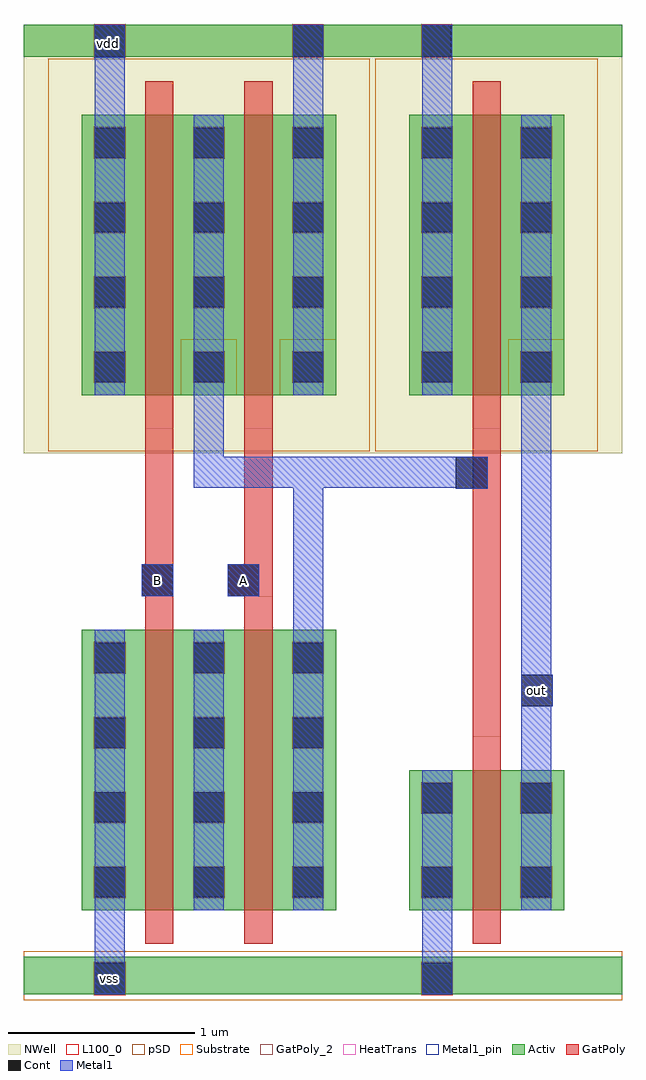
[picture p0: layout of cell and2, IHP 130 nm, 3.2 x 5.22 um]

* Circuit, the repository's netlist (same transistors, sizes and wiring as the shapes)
* Extracted by KLayout with SG13G2 LVS runset on : 26/03/2026 19:46

.SUBCKT and2
M$1 \$2 \$3 \$8 \$2 sg13_lv_nmos L=0.15u W=1.5u AS=0.51p AD=0.285p PS=3.68u
+ PD=1.88u
M$2 \$8 \$4 \$6 \$2 sg13_lv_nmos L=0.15u W=1.5u AS=0.285p AD=0.51p PS=1.88u
+ PD=3.68u
M$3 \$1 \$6 \$5 \$1 sg13_lv_pmos L=0.15u W=1.5u AS=0.51p AD=0.51p PS=3.68u
+ PD=3.68u
M$4 \$1 \$3 \$6 \$1 sg13_lv_pmos L=0.15u W=1.5u AS=0.51p AD=0.285p PS=3.68u
+ PD=1.88u
M$5 \$6 \$4 \$1 \$1 sg13_lv_pmos L=0.15u W=1.5u AS=0.285p AD=0.51p PS=1.88u
+ PD=3.68u
M$6 \$2 \$6 \$5 \$2 sg13_lv_nmos L=0.15u W=0.75u AS=0.255p AD=0.255p PS=2.18u
+ PD=2.18u
.ENDS and2

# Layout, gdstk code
import gdstk
lib = gdstk.Library(unit=1e-6, precision=5e-09)
def R(c, l, rs):  # rectangles x0, y0, x1, y1
    for r in rs: c.add(gdstk.rectangle(r[:2], r[2:], *l))
def A(c, l, x, y, w, h, nx, ny, dx, dy):  # array of equal rectangles
    R(c, l, [(x+i*dx, y+j*dy, x+i*dx+w, y+j*dy+h) for i in range(nx) for j in range(ny)])
Activ = (1, 0)
GatPoly = (5, 0)
GatPoly_2 = (5, 2)
Cont = (6, 0)
Metal1 = (8, 0)
Metal1_pin = (8, 2)
pSD = (14, 0)
NWell = (31, 0)
Substrate = (40, 0)
HeatTrans = (51, 0)
L100_0 = (100, 0)

pmos_1 = lib.new_cell('pmos$1')
R(pmos_1, Activ, [(0,0,0.3,0.3), (0,0,0.83,1.5), (0.53,0,0.83,0.3)])
R(pmos_1, GatPoly, [(0.34,-0.18,0.49,1.68), (0.34,-0.18,0.49,1.68)])
A(pmos_1, Cont, 0.07, 0.07, 0.16, 0.16, 1, 4, 0, 0.4)
A(pmos_1, Cont, 0.6, 0.07, 0.16, 0.16, 1, 4, 0, 0.4)
R(pmos_1, Metal1, [(0.07,0,0.23,1.5), (0.07,0,0.23,1.5), (0.6,0,0.76,1.5), (0.6,0,0.76,1.5)])
R(pmos_1, pSD, [(-0.18,-0.3,1.01,1.8)])
R(pmos_1, NWell, [(-0.31,-0.31,1.14,1.81)])
R(pmos_1, Substrate, [(0.53,0,0.83,0.3)])
R(pmos_1, HeatTrans, [(0.34,-0.18,0.49,1.68)])
pmos_1.add(gdstk.Label('pmos', (0.415,0.75), layer=63, texttype=0))
pmos_1.add(gdstk.Label('pmos', (0.415,0.75), layer=51, texttype=0))

nmos_1 = lib.new_cell('nmos$1')
R(nmos_1, Activ, [(0,0,0.3,0.3), (0,0,0.83,1.5), (0.53,0,0.83,0.3)])
R(nmos_1, GatPoly, [(0.34,-0.18,0.49,1.68)])
R(nmos_1, GatPoly_2, [(0.34,-0.18,0.49,1.68)])
A(nmos_1, Cont, 0.07, 0.07, 0.16, 0.16, 1, 4, 0, 0.4)
A(nmos_1, Cont, 0.6, 0.07, 0.16, 0.16, 1, 4, 0, 0.4)
R(nmos_1, Metal1, [(0.07,0,0.23,1.5), (0.6,0,0.76,1.5)])
R(nmos_1, Metal1_pin, [(0.07,0,0.23,1.5), (0.6,0,0.76,1.5)])
R(nmos_1, HeatTrans, [(0.34,-0.18,0.49,1.68)])
nmos_1.add(gdstk.Label('nmos', (0.415,0.75), layer=63, texttype=0))
nmos_1.add(gdstk.Label('nmos', (0.415,0.75), layer=51, texttype=0))

nmos = lib.new_cell('nmos')
R(nmos, Activ, [(0,0,0.3,0.3), (0,0,0.83,0.75), (0.53,0,0.83,0.3)])
R(nmos, GatPoly, [(0.34,-0.18,0.49,0.93)])
R(nmos, GatPoly_2, [(0.34,-0.18,0.49,0.93)])
R(nmos, Cont, [(0.07,0.07,0.23,0.23), (0.6,0.07,0.76,0.23), (0.07,0.52,0.23,0.68), (0.6,0.52,0.76,0.68)])
R(nmos, Metal1, [(0.07,0,0.23,0.75), (0.6,0,0.76,0.75)])
R(nmos, Metal1_pin, [(0.07,0,0.23,0.75), (0.6,0,0.76,0.75)])
R(nmos, HeatTrans, [(0.34,-0.18,0.49,0.93)])
nmos.add(gdstk.Label('nmos', (0.415,0.375), layer=63, texttype=0))
nmos.add(gdstk.Label('nmos', (0.415,0.375), layer=51, texttype=0))

and2 = lib.new_cell('and2')
R(and2, Activ, [(-1.04,-2.6,2.16,-2.4), (-1.04,2.415,2.16,2.585)])
R(and2, GatPoly, [(1.36,-1.25,1.51,0.425), (-0.39,-0.5,-0.24,0.425), (0.14,-0.5,0.29,0.425), (-0.41,-0.47,-0.39,-0.3), (0.05,-0.47,0.14,-0.3)])
R(and2, Cont, [(-0.66,-2.6,-0.5,-2.43), (1.09,-2.6,1.25,-2.43), (1.62,-1.06,1.79,-0.89), (-0.41,-0.47,-0.24,-0.3), (-0.41,-0.47,-0.24,-0.3), (0.05,-0.47,0.22,-0.3), (0.05,-0.47,0.22,-0.3), (1.27,0.105,1.44,0.275), (-0.66,2.415,-0.5,2.585), (0.4,2.415,0.56,2.585), (1.09,2.415,1.245,2.585)])
R(and2, Metal1, [(-0.66,-2.6,-0.5,-2.08), (1.09,-2.6,1.25,-2.08), (1.62,-1.5,1.78,0.675), (1.62,-1.06,1.79,-0.89), (0.4,-0.75,0.56,0.275), (-0.41,-0.47,-0.24,-0.3), (0.05,-0.47,0.22,-0.3), (1.27,0.105,1.44,0.275), (-0.13,0.11,1.44,0.275), (-0.13,0.11,0.03,0.675), (-0.66,2.035,-0.5,2.585), (0.4,2.035,0.56,2.585), (1.09,2.035,1.25,2.585)])
R(and2, Metal1_pin, [(-0.66,-2.6,-0.5,-2.43), (1.09,-2.6,1.25,-2.435), (1.62,-1.06,1.79,-0.89), (1.27,0.105,1.44,0.275), (-0.66,2.41,-0.5,2.585), (0.4,2.415,0.56,2.585), (1.09,2.415,1.245,2.585)])
R(and2, pSD, [(-1.04,-2.63,2.16,-2.37)])
R(and2, NWell, [(-1.04,2.415,2.16,2.585)])
R(and2, L100_0, [(-0.665,-2.605,-0.495,-2.425), (-0.665,-2.605,-0.495,-2.425), (1.085,-2.605,1.255,-2.425), (1.085,-2.605,1.255,-2.425), (-0.665,-2.085,-0.495,-1.915), (-0.665,-2.085,-0.495,-1.915), (-0.135,-2.085,0.035,-1.915), (-0.135,-2.085,0.035,-1.915), (0.395,-2.085,0.565,-1.915), (0.395,-2.085,0.565,-1.915), (1.085,-2.085,1.255,-1.915), (1.085,-2.085,1.255,-1.915), (1.615,-2.085,1.785,-1.915), (1.615,-2.085,1.785,-1.915), (-0.665,-1.685,-0.495,-1.515), (-0.665,-1.685,-0.495,-1.515), (-0.135,-1.685,0.035,-1.515), (-0.135,-1.685,0.035,-1.515), (0.395,-1.685,0.565,-1.515), (0.395,-1.685,0.565,-1.515), (1.085,-1.635,1.255,-1.465), (1.085,-1.635,1.255,-1.465), (1.615,-1.635,1.785,-1.465), (1.615,-1.635,1.785,-1.465), (-0.665,-1.285,-0.495,-1.115), (-0.665,-1.285,-0.495,-1.115), (-0.135,-1.285,0.035,-1.115), (-0.135,-1.285,0.035,-1.115), (0.395,-1.285,0.565,-1.115), (0.395,-1.285,0.565,-1.115), (-0.665,-0.885,-0.495,-0.715), (-0.665,-0.885,-0.495,-0.715), (-0.135,-0.885,0.035,-0.715), (-0.135,-0.885,0.035,-0.715), (0.395,-0.885,0.565,-0.715), (0.395,-0.885,0.565,-0.715), (-0.665,0.67,-0.495,0.84), (-0.665,0.67,-0.495,0.84), (-0.135,0.67,0.035,0.84), (-0.135,0.67,0.035,0.84), (0.395,0.67,0.565,0.84), (0.395,0.67,0.565,0.84), (1.085,0.67,1.255,0.84), (1.085,0.67,1.255,0.84), (1.615,0.67,1.785,0.84), (1.615,0.67,1.785,0.84), (-0.665,1.07,-0.495,1.24), (-0.665,1.07,-0.495,1.24), (-0.135,1.07,0.035,1.24), (-0.135,1.07,0.035,1.24), (0.395,1.07,0.565,1.24), (0.395,1.07,0.565,1.24), (1.085,1.07,1.255,1.24), (1.085,1.07,1.255,1.24), (1.615,1.07,1.785,1.24), (1.615,1.07,1.785,1.24), (-0.665,1.47,-0.495,1.64), (-0.665,1.47,-0.495,1.64), (-0.135,1.47,0.035,1.64), (-0.135,1.47,0.035,1.64), (0.395,1.47,0.565,1.64), (0.395,1.47,0.565,1.64), (1.085,1.47,1.255,1.64), (1.085,1.47,1.255,1.64), (1.615,1.47,1.785,1.64), (1.615,1.47,1.785,1.64), (-0.665,1.87,-0.495,2.04), (-0.665,1.87,-0.495,2.04), (-0.135,1.87,0.035,2.04), (-0.135,1.87,0.035,2.04), (0.395,1.87,0.565,2.04), (0.395,1.87,0.565,2.04), (1.085,1.87,1.255,2.04), (1.085,1.87,1.255,2.04), (1.615,1.87,1.785,2.04), (1.615,1.87,1.785,2.04), (-0.665,2.41,-0.495,2.59), (-0.665,2.41,-0.495,2.59), (0.395,2.41,0.565,2.59), (0.395,2.41,0.565,2.59), (1.085,2.41,1.25,2.59), (1.085,2.41,1.25,2.59)])
and2.add(gdstk.Reference(pmos_1, (-0.73,0.605)))
and2.add(gdstk.Reference(nmos_1, (-0.73,-2.15)))
and2.add(gdstk.Reference(pmos_1, (-0.2,0.605)))
and2.add(gdstk.Reference(nmos, (1.02,-2.15)))
and2.add(gdstk.Reference(pmos_1, (1.02,0.605)))
and2.add(gdstk.Reference(nmos_1, (-0.2,-2.15)))
and2.add(gdstk.Label('vss', (-0.58,-2.515), layer=8, texttype=2))
and2.add(gdstk.Label('B', (-0.325,-0.385), layer=8, texttype=2))
and2.add(gdstk.Label('A', (0.135,-0.385), layer=8, texttype=2))
and2.add(gdstk.Label('out', (1.7,-0.975), layer=8, texttype=2))
and2.add(gdstk.Label('vdd', (-0.585,2.485), layer=8, texttype=2))

lib.write_gds('and2.gds')
